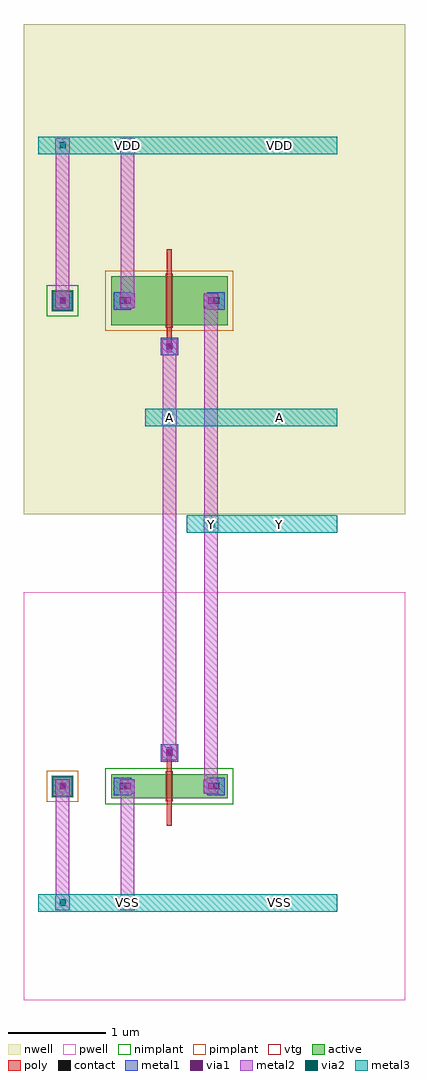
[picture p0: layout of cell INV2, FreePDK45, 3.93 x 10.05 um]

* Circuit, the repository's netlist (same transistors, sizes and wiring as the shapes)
.subckt INV2 VDD VSS A Y
M0 Y A VDD VDD PMOS_VTG W=0.5U L=0.05U
M1 Y A VSS VSS NMOS_VTG W=0.25U L=0.05U
.ends INV2
.end

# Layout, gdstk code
import gdstk
lib = gdstk.Library(unit=1e-6, precision=5e-10)
def R(c, l, rs):  # rectangles x0, y0, x1, y1
    for r in rs: c.add(gdstk.rectangle(r[:2], r[2:], *l))
active = (1, 0)
pwell = (2, 0)
nwell = (3, 0)
nimplant = (4, 0)
pimplant = (5, 0)
vtg = (6, 0)
poly = (9, 0)
contact = (10, 0)
metal1 = (11, 0)
via1 = (12, 0)
metal2 = (13, 0)
via2 = (14, 0)
metal3 = (15, 0)

inv2 = lib.new_cell('INV2')
R(inv2, active, [(0.6,1.875,1.8,2.125), (-0.01,1.89,0.21,2.11), (0.6,6.75,1.8,7.25), (-0.01,6.89,0.21,7.11)])
R(inv2, pwell, [(-0.3,-0.2,3.63,4)])
R(inv2, nwell, [(-0.3,4.8,3.63,9.85)])
R(inv2, nimplant, [(0.54,1.815,1.86,2.185), (-0.06,6.84,0.26,7.16)])
R(inv2, pimplant, [(-0.06,1.84,0.26,2.16), (0.54,6.69,1.86,7.31)])
R(inv2, vtg, [(1.165,1.845,1.235,2.155), (1.165,6.72,1.235,7.28)])
R(inv2, poly, [(1.175,1.595,1.225,2.405), (1.175,6.47,1.225,7.53)])
R(inv2, contact, [(0.07,1.97,0.135,2.035), (0.69,1.97,0.755,2.035), (1.65,1.97,1.715,2.035), (1.17,2.315,1.235,2.38), (1.17,6.5,1.235,6.565), (0.07,6.97,0.135,7.035), (0.69,6.97,0.755,7.035), (1.65,6.97,1.715,7.035)])
R(inv2, metal1, [(0,1.9,0.2,2.1), (0.63,1.91,0.81,2.09), (1.59,1.91,1.77,2.09), (0.025,1.925,0.175,2.075), (0.025,1.925,0.175,2.075), (0.695,1.925,0.845,2.075), (1.555,1.925,1.705,2.075), (1.11,2.255,1.29,2.435), (1.125,2.27,1.275,2.42), (1.11,6.44,1.29,6.62), (1.125,6.455,1.275,6.605), (0,6.9,0.2,7.1), (0.63,6.91,0.81,7.09), (1.59,6.91,1.77,7.09), (0.025,6.925,0.175,7.075), (0.025,6.925,0.175,7.075), (0.695,6.925,0.845,7.075), (1.555,6.925,1.705,7.075)])
R(inv2, via1, [(0.07,1.97,0.135,2.035), (0.07,1.97,0.135,2.035), (0.74,1.97,0.805,2.035), (1.6,1.97,1.665,2.035), (1.17,2.315,1.235,2.38), (1.17,6.5,1.235,6.565), (0.07,6.97,0.135,7.035), (0.07,6.97,0.135,7.035), (0.74,6.97,0.805,7.035), (1.6,6.97,1.665,7.035)])
R(inv2, metal2, [(0.025,0.725,0.175,0.875), (0.025,0.725,0.175,0.875), (0.695,0.725,0.845,0.875), (0.03,0.8,0.17,2), (0.03,0.8,0.17,2), (0.7,0.8,0.84,2), (0.025,1.925,0.175,2.075), (0.025,1.925,0.175,2.075), (0.695,1.925,0.845,2.075), (1.555,1.925,1.705,2.075), (1.56,2,1.7,4.7), (1.125,2.27,1.275,2.42), (1.13,2.345,1.27,5.8), (1.555,4.625,1.705,4.775), (1.555,4.625,1.705,4.775), (1.56,4.7,1.7,7), (1.125,5.725,1.275,5.875), (1.125,5.725,1.275,5.875), (1.13,5.8,1.27,6.53), (1.125,6.455,1.275,6.605), (0.025,6.925,0.175,7.075), (0.025,6.925,0.175,7.075), (0.695,6.925,0.845,7.075), (1.555,6.925,1.705,7.075), (0.03,7,0.17,8.6), (0.03,7,0.17,8.6), (0.7,7,0.84,8.6), (0.025,8.525,0.175,8.675), (0.025,8.525,0.175,8.675), (0.695,8.525,0.845,8.675)])
R(inv2, via2, [(0.07,0.77,0.135,0.835), (0.07,0.77,0.135,0.835), (0.74,0.77,0.805,0.835), (1.6,4.67,1.665,4.735), (1.6,4.67,1.665,4.735), (1.17,5.77,1.235,5.835), (1.17,5.77,1.235,5.835), (0.07,8.57,0.135,8.635), (0.07,8.57,0.135,8.635), (0.74,8.57,0.805,8.635)])
R(inv2, metal3, [(-0.15,0.71,1.02,0.89), (1.02,0.71,2.93,0.89), (0.025,0.725,0.175,0.875), (0.025,0.725,0.175,0.875), (0.695,0.725,0.845,0.875), (1.38,4.61,1.88,4.79), (1.88,4.61,2.93,4.79), (1.555,4.625,1.705,4.775), (1.555,4.625,1.705,4.775), (0.95,5.71,1.45,5.89), (1.45,5.71,2.93,5.89), (1.125,5.725,1.275,5.875), (1.125,5.725,1.275,5.875), (-0.15,8.51,1.02,8.69), (1.02,8.51,2.93,8.69), (0.025,8.525,0.175,8.675), (0.025,8.525,0.175,8.675), (0.695,8.525,0.845,8.675)])
inv2.add(gdstk.Label('VDD', (2.33,8.6), layer=15, texttype=0))
inv2.add(gdstk.Label('VDD', (2.33,8.6), layer=15, texttype=1))
inv2.add(gdstk.Label('VDD', (2.33,8.6), layer=15, texttype=2))
inv2.add(gdstk.Label('VDD', (0.77,8.6), layer=13, texttype=0))
inv2.add(gdstk.Label('VDD', (0.77,8.6), layer=13, texttype=1))
inv2.add(gdstk.Label('VDD', (0.77,8.6), layer=13, texttype=2))
inv2.add(gdstk.Label('VSS', (2.33,0.8), layer=15, texttype=0))
inv2.add(gdstk.Label('VSS', (2.33,0.8), layer=15, texttype=1))
inv2.add(gdstk.Label('VSS', (2.33,0.8), layer=15, texttype=2))
inv2.add(gdstk.Label('VSS', (0.77,0.8), layer=13, texttype=0))
inv2.add(gdstk.Label('VSS', (0.77,0.8), layer=13, texttype=1))
inv2.add(gdstk.Label('VSS', (0.77,0.8), layer=13, texttype=2))
inv2.add(gdstk.Label('A', (2.33,5.8), layer=15, texttype=0))
inv2.add(gdstk.Label('A', (2.33,5.8), layer=15, texttype=1))
inv2.add(gdstk.Label('A', (2.33,5.8), layer=15, texttype=2))
inv2.add(gdstk.Label('A', (1.2,5.8), layer=13, texttype=0))
inv2.add(gdstk.Label('A', (1.2,5.8), layer=13, texttype=1))
inv2.add(gdstk.Label('A', (1.2,5.8), layer=13, texttype=2))
inv2.add(gdstk.Label('Y', (2.33,4.7), layer=15, texttype=0))
inv2.add(gdstk.Label('Y', (2.33,4.7), layer=15, texttype=1))
inv2.add(gdstk.Label('Y', (2.33,4.7), layer=15, texttype=2))
inv2.add(gdstk.Label('Y', (1.63,4.7), layer=13, texttype=0))
inv2.add(gdstk.Label('Y', (1.63,4.7), layer=13, texttype=1))
inv2.add(gdstk.Label('Y', (1.63,4.7), layer=13, texttype=2))

lib.write_gds('INV2.gds')
